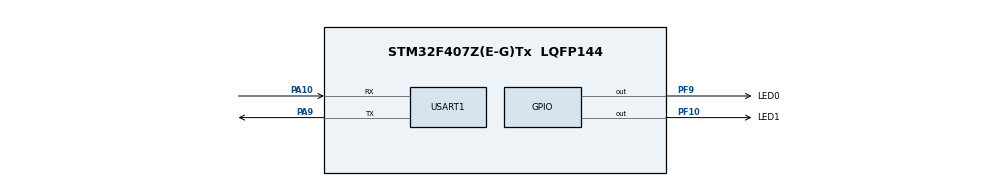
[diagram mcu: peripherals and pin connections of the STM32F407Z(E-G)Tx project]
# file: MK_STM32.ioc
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FREERTOS.Tasks01=defaultTask,24,512,StartDefaultTask,Default,NULL,Dynamic,NULL,NULL
FREERTOS.configENABLE_FPU=1
Mcu.Family=STM32F4
Mcu.Name=STM32F407Z(E-G)Tx
Mcu.Package=LQFP144
NVIC.PriorityGroup=NVIC_PRIORITYGROUP_4
NVIC.USART1_IRQn=true\:5\:0\:false\:false\:true\:true\:true\:true\:true
PA10.Mode=Asynchronous
PA10.Signal=USART1_RX
PA9.Mode=Asynchronous
PA9.Signal=USART1_TX
PC14-OSC32_IN.Mode=LSE-External-Oscillator
PC14-OSC32_IN.Signal=RCC_OSC32_IN
PC15-OSC32_OUT.Mode=LSE-External-Oscillator
PC15-OSC32_OUT.Signal=RCC_OSC32_OUT
PF10.GPIO_Label=LED1
PF10.GPIO_Speed=GPIO_SPEED_FREQ_HIGH
PF10.PinState=GPIO_PIN_SET
PF10.Signal=GPIO_Output
PF9.GPIO_Label=LED0
PF9.GPIO_Speed=GPIO_SPEED_FREQ_HIGH
PF9.PinState=GPIO_PIN_SET
PF9.Signal=GPIO_Output
PH0-OSC_IN.Mode=HSE-External-Oscillator
PH0-OSC_IN.Signal=RCC_OSC_IN
PH1-OSC_OUT.Mode=HSE-External-Oscillator
PH1-OSC_OUT.Signal=RCC_OSC_OUT
ProjectManager.HeapSize=0x2000
ProjectManager.StackSize=0x4000
ProjectManager.TargetToolchain=EWARM V8.32
RCC.48MHZClocksFreq_Value=84000000
RCC.AHBFreq_Value=168000000
RCC.APB1CLKDivider=RCC_HCLK_DIV4
RCC.APB1Freq_Value=42000000
RCC.APB1TimFreq_Value=84000000
RCC.APB2CLKDivider=RCC_HCLK_DIV2
RCC.APB2Freq_Value=84000000
RCC.APB2TimFreq_Value=168000000
RCC.CortexFreq_Value=168000000
RCC.HCLKFreq_Value=168000000
RCC.HSE_VALUE=25000000
RCC.HSI_VALUE=16000000
RCC.PLLM=8
RCC.PLLN=168
RCC.SYSCLKFreq_VALUE=168000000
RCC.SYSCLKSource=RCC_SYSCLKSOURCE_PLLCLK
RCC.VCOOutputFreq_Value=336000000
USART1.OverSampling=UART_OVERSAMPLING_8
USART1.VirtualMode=VM_ASYNC
VP_FREERTOS_VS_CMSIS_V2.Mode=CMSIS_V2
board=custom

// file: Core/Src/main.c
/* USER CODE BEGIN Header */
/**
  ******************************************************************************
  * @file           : main.c
  * @brief          : Main program body
  ******************************************************************************
  * @attention
  *
  * Copyright (c) 2022 STMicroelectronics.
  * All rights reserved.
  *
  * This software is licensed under terms that can be found in the LICENSE file
  * in the root directory of this software component.
  * If no LICENSE file comes with this software, it is provided AS-IS.
  *
  ******************************************************************************
  */
/* USER CODE END Header */
#include "main.h"
#include "cmsis_os.h"
#include "microkernel.h"
#include "ltc2944.h"

/* Definitions for defaultTask */
osThreadId_t defaultTaskHandle;
const osThreadAttr_t defaultTask_attributes = {
    .name = "defaultTask",
    .stack_size = 512 * 4,
    .priority = (osPriority_t) osPriorityNormal,
};

void SystemClock_Config(void);
static void MX_GPIO_Init(void);
static void MX_USART1_UART_Init(void);
void StartDefaultTask(void *argument);

int fdreg,ret;
int main(void)
{

  /* MCU Configuration--------------------------------------------------------*/

  /* Reset of all peripherals, Initializes the Flash interface and the Systick. */
  LL_APB2_GRP1_EnableClock(LL_APB2_GRP1_PERIPH_SYSCFG);
  LL_APB1_GRP1_EnableClock(LL_APB1_GRP1_PERIPH_PWR);

  /* System interrupt init*/
  NVIC_SetPriorityGrouping(NVIC_PRIORITYGROUP_4);

  /* PendSV_IRQn interrupt configuration */
  NVIC_SetPriority(PendSV_IRQn, NVIC_EncodePriority(NVIC_GetPriorityGrouping(),15, 0));
  /* SysTick_IRQn interrupt configuration */
  NVIC_SetPriority(SysTick_IRQn, NVIC_EncodePriority(NVIC_GetPriorityGrouping(),15, 0));

  /* Configure the system clock */
  SystemClock_Config();

  /* Initialize all configured peripherals */
  MX_GPIO_Init();
  MX_USART1_UART_Init();
  /* USER CODE BEGIN 2 */

  LL_GPIO_ResetOutputPin(GPIOF, LL_GPIO_PIN_9|LL_GPIO_PIN_10);
  /* USER CODE END 2 */

  /* Init scheduler */
  osKernelInitialize();

  /* Create the thread(s) */
  /* creation of defaultTask */
  defaultTaskHandle = osThreadNew(StartDefaultTask, NULL, &defaultTask_attributes);

  /* We should never get here as control is now taken by the scheduler */
  /* Infinite loop */
  /* USER CODE BEGIN WHILE */
#if 1
    mk_init();//初始化MK组件
    //adc_d1_driver_init();//注册驱动
    //probe_device();//搜索驱动并注册设�??
//-------------驱动二次开发
 //   mk_gpio_driver_init();//gpio总线初始化
  //  init_driver();//分配总线
  //  init_led_device();//初始化驱动

   // init_ltc2944_device();
    I2cSim_driver_init();
    init_I2cSim_driver();
    init_ltc2944_device();
  //  test_dev = search_first_device(DEVICE_TYPE_LED);
    //unregister_gpdev();
//-----------------------
    StartDefaultTask(NULL);
#if 0
//----------------设备应用---------------------
    uint8_t buf[5];
//打开
    fdreg = vfs_open("/device/led/red/switch", O_RDONLY);
    if(fdreg > 0)
     {
        //读取
        ret = vfs_ioctl(fdreg, 1, NULL);
        LL_mDelay(1000);
        ret = vfs_ioctl(fdreg, 0, NULL);
        LL_mDelay(1000);
        //关闭
        ret = vfs_close(fdreg);
        if(ret < 0)
          LL_mDelay(1000);
     }

    fdreg = vfs_open("/device/led/red/switch", O_RDONLY);
    if(fdreg > 0)
     {
        //读取
        ret = vfs_ioctl(fdreg, 1, NULL);
        LL_mDelay(1000);
        ret = vfs_ioctl(fdreg, 0, NULL);
        LL_mDelay(1000);
        //关闭
        ret = vfs_close(fdreg);
        if(ret < 0)
          LL_mDelay(1000);
     }
#endif

//-------------------驱动二次�??�??------------------
#if 0
  uint8_t bufa[5];
//打开
  fdreg = vfs_open("/driver/gpio/gpio9", O_RDONLY);
  if(fdreg > 0)
  {
  //读取
    ret = vfs_ioctl(fdreg,1,NULL);
    if(ret < 0)
      LL_mDelay(1000);
  //关闭
    ret = vfs_close(fdreg);
    if(ret < 0)
      LL_mDelay(1000);
  }
#endif

#endif
  /* Start scheduler */
  osKernelStart();
  while (1)
   {
    LL_mDelay(100);
    /* USER CODE END WHILE */

   }
}

void SystemClock_Config(void)
{
  LL_FLASH_SetLatency(LL_FLASH_LATENCY_5);
  while(LL_FLASH_GetLatency()!= LL_FLASH_LATENCY_5)
  {
  }
  LL_PWR_SetRegulVoltageScaling(LL_PWR_REGU_VOLTAGE_SCALE1);
  LL_RCC_HSI_SetCalibTrimming(16);
  LL_RCC_HSI_Enable();

   /* Wait till HSI is ready */
  while(LL_RCC_HSI_IsReady() != 1)
  {

  }
  LL_RCC_PLL_ConfigDomain_SYS(LL_RCC_PLLSOURCE_HSI, LL_RCC_PLLM_DIV_8, 168, LL_RCC_PLLP_DIV_2);
  LL_RCC_PLL_Enable();

   /* Wait till PLL is ready */
  while(LL_RCC_PLL_IsReady() != 1)
  {

  }
  LL_RCC_SetAHBPrescaler(LL_RCC_SYSCLK_DIV_1);
  LL_RCC_SetAPB1Prescaler(LL_RCC_APB1_DIV_4);
  LL_RCC_SetAPB2Prescaler(LL_RCC_APB2_DIV_2);
  LL_RCC_SetSysClkSource(LL_RCC_SYS_CLKSOURCE_PLL);

   /* Wait till System clock is ready */
  while(LL_RCC_GetSysClkSource() != LL_RCC_SYS_CLKSOURCE_STATUS_PLL)
  {

  }
  LL_Init1msTick(168000000);
  LL_SetSystemCoreClock(168000000);
}

static void MX_USART1_UART_Init(void)
{

  LL_USART_InitTypeDef USART_InitStruct = {0};

  LL_GPIO_InitTypeDef GPIO_InitStruct = {0};

  /* Peripheral clock enable */
  LL_APB2_GRP1_EnableClock(LL_APB2_GRP1_PERIPH_USART1);

  LL_AHB1_GRP1_EnableClock(LL_AHB1_GRP1_PERIPH_GPIOA);
  /**USART1 GPIO Configuration
  PA9   ------> USART1_TX
  PA10   ------> USART1_RX
  */
  GPIO_InitStruct.Pin = LL_GPIO_PIN_9|LL_GPIO_PIN_10;
  GPIO_InitStruct.Mode = LL_GPIO_MODE_ALTERNATE;
  GPIO_InitStruct.Speed = LL_GPIO_SPEED_FREQ_VERY_HIGH;
  GPIO_InitStruct.OutputType = LL_GPIO_OUTPUT_PUSHPULL;
  GPIO_InitStruct.Pull = LL_GPIO_PULL_NO;
  GPIO_InitStruct.Alternate = LL_GPIO_AF_7;
  LL_GPIO_Init(GPIOA, &GPIO_InitStruct);

  /* USART1 interrupt Init */
  NVIC_SetPriority(USART1_IRQn, NVIC_EncodePriority(NVIC_GetPriorityGrouping(),5, 0));
  NVIC_EnableIRQ(USART1_IRQn);

  USART_InitStruct.BaudRate = 115200;
  USART_InitStruct.DataWidth = LL_USART_DATAWIDTH_8B;
  USART_InitStruct.StopBits = LL_USART_STOPBITS_1;
  USART_InitStruct.Parity = LL_USART_PARITY_NONE;
  USART_InitStruct.TransferDirection = LL_USART_DIRECTION_TX_RX;
  USART_InitStruct.HardwareFlowControl = LL_USART_HWCONTROL_NONE;
  USART_InitStruct.OverSampling = LL_USART_OVERSAMPLING_8;
  LL_USART_Init(USART1, &USART_InitStruct);
  LL_USART_ConfigAsyncMode(USART1);
  LL_USART_Enable(USART1);
  /* USER CODE BEGIN USART1_Init 2 */
  /* Clear Overrun flag, in case characters have already been sent to USART */
 // LL_USART_ClearFlag_ORE(USART1);

  /* Enable RXNE and Error interrupts */
 // LL_USART_EnableIT_RXNE(USART1);

  /* USER CODE END USART1_Init 2 */

}

static void MX_GPIO_Init(void)
{
  LL_GPIO_InitTypeDef GPIO_InitStruct = {0};

  /* GPIO Ports Clock Enable */
  LL_AHB1_GRP1_EnableClock(LL_AHB1_GRP1_PERIPH_GPIOC);
  LL_AHB1_GRP1_EnableClock(LL_AHB1_GRP1_PERIPH_GPIOF);
  LL_AHB1_GRP1_EnableClock(LL_AHB1_GRP1_PERIPH_GPIOH);
  LL_AHB1_GRP1_EnableClock(LL_AHB1_GRP1_PERIPH_GPIOA);
  LL_AHB1_GRP1_EnableClock(LL_AHB1_GRP1_PERIPH_GPIOE);
  LL_AHB1_GRP1_EnableClock(LL_AHB1_GRP1_PERIPH_GPIOB);
  /**/
  LL_GPIO_SetOutputPin(GPIOF, LED0_Pin|LED1_Pin);

  /**/
  GPIO_InitStruct.Pin = LED0_Pin|LED1_Pin;
  GPIO_InitStruct.Mode = LL_GPIO_MODE_OUTPUT;
  GPIO_InitStruct.Speed = LL_GPIO_SPEED_FREQ_HIGH;
  GPIO_InitStruct.OutputType = LL_GPIO_OUTPUT_PUSHPULL;
  GPIO_InitStruct.Pull = LL_GPIO_PULL_NO;
  LL_GPIO_Init(GPIOF, &GPIO_InitStruct);

  //I2C
  LL_GPIO_SetOutputPin(GPIOB, LL_GPIO_PIN_8 | LL_GPIO_PIN_9);
  GPIO_InitStruct.Pin = LL_GPIO_PIN_8 | LL_GPIO_PIN_9;
  GPIO_InitStruct.Mode = LL_GPIO_MODE_OUTPUT;
  GPIO_InitStruct.Speed = LL_GPIO_SPEED_FREQ_HIGH;
  GPIO_InitStruct.OutputType = LL_GPIO_OUTPUT_OPENDRAIN;
  GPIO_InitStruct.Pull = LL_GPIO_PULL_UP;
  LL_GPIO_Init(GPIOB, &GPIO_InitStruct);

}

size_t Sizelen=0;
int devnum = 0;
uint8_t kbuf[5];
float voltVal = 0;
void StartDefaultTask(void *argument)
{
  /* USER CODE BEGIN 5 */
  /* Infinite loop */
  //----------------设备应用---------------------

//打开
/*
    fdreg = vfs_open("/device/led/red/switch", O_CTLONLY);
    if(fdreg > 0)
     {
        //读取
        ret = vfs_ioctl(fdreg, 1, NULL);
        LL_mDelay(1000);
        ret = vfs_ioctl(fdreg, 0, NULL);
        LL_mDelay(1000);
        //关闭
        ret = vfs_close(fdreg);
        if(ret < 0)
          LL_mDelay(1000);
     }
     */
  //打开
    fdreg = vfs_open("/device/i2c/ltc2944", O_RDONLY);
    if(fdreg < 0)
      while(1);
    Sizelen = xPortGetFreeHeapSize();
    devnum = GetDeviceNum();
    for(;;)
    {
      ret = vfs_lseek(fdreg,LTC2943_VOLTAGE_REG,SEEK_SET);//偏移2个
      if(ret < 0)
        while(1);
    //读取
      ret = vfs_read(fdreg, &voltVal, 2);
      if(ret < 0)
        while(1);
      osDelay(1000);
    }
      //关闭
    ret = vfs_close(fdreg);
    if(ret < 0)
      while(1);
  /* USER CODE END 5 */
}

void Error_Handler(void)
{
  __disable_irq();
  while (1)
  {
  }
}

int fputc(int ch, FILE *f)
{
	while((USART1->SR&0X40)==0);
	USART1->DR = (uint8_t) ch;
	return ch;
}
